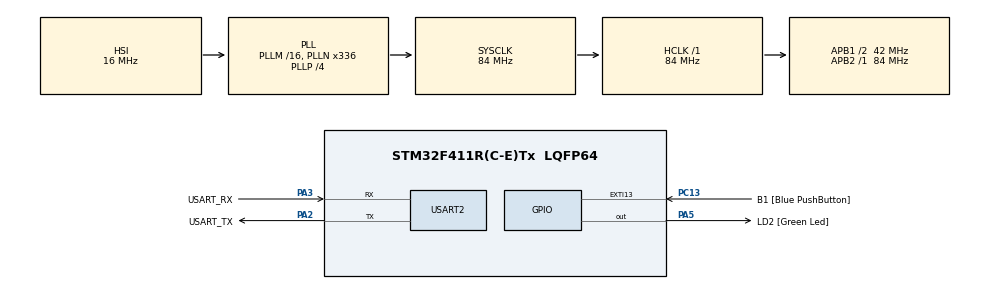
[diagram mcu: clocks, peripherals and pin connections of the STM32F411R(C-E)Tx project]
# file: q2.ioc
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FREERTOS.Tasks01=defaultTask,0,128,StartDefaultTask,Default,NULL,Dynamic,NULL,NULL;myTask02,-3,128,StartTask02,Default,NULL,Dynamic,NULL,NULL;myTask03,-3,128,StartTask03,Default,NULL,Dynamic,NULL,NULL
Mcu.Family=STM32F4
Mcu.Name=STM32F411R(C-E)Tx
Mcu.Package=LQFP64
NVIC.PriorityGroup=NVIC_PRIORITYGROUP_4
PA13.GPIO_Label=TMS
PA13.Mode=Serial_Wire
PA13.Signal=SYS_JTMS-SWDIO
PA14.GPIO_Label=TCK
PA14.Mode=Serial_Wire
PA14.Signal=SYS_JTCK-SWCLK
PA2.GPIO_Label=USART_TX
PA2.Mode=Asynchronous
PA2.Signal=USART2_TX
PA3.GPIO_Label=USART_RX
PA3.Mode=Asynchronous
PA3.Signal=USART2_RX
PA5.GPIO_Label=LD2 [Green Led]
PA5.Signal=GPIO_Output
PB3.GPIO_Label=SWO
PB3.Signal=SYS_JTDO-SWO
PC13-ANTI_TAMP.GPIO_Label=B1 [Blue PushButton]
PC13-ANTI_TAMP.GPIO_ModeDefaultEXTI=GPIO_MODE_IT_FALLING
PC13-ANTI_TAMP.Signal=GPXTI13
PC14-OSC32_IN.Mode=LSE-External-Oscillator
PC14-OSC32_IN.Signal=RCC_OSC32_IN
PC15-OSC32_OUT.Mode=LSE-External-Oscillator
PC15-OSC32_OUT.Signal=RCC_OSC32_OUT
PH0\ -\ OSC_IN.Mode=HSE-External-Clock-Source
PH0\ -\ OSC_IN.Signal=RCC_OSC_IN
PH1\ -\ OSC_OUT.Mode=HSE-External-Clock-Source
PH1\ -\ OSC_OUT.Signal=RCC_OSC_OUT
ProjectManager.HeapSize=0x200
ProjectManager.StackSize=0x400
ProjectManager.TargetToolchain=STM32CubeIDE
RCC.48MHZClocksFreq_Value=84000000
RCC.AHBFreq_Value=84000000
RCC.APB1CLKDivider=RCC_HCLK_DIV2
RCC.APB1Freq_Value=42000000
RCC.APB1TimFreq_Value=84000000
RCC.APB2Freq_Value=84000000
RCC.APB2TimFreq_Value=84000000
RCC.CortexFreq_Value=84000000
RCC.FLatency-AdvancedSettings=FLASH_LATENCY_2
RCC.HCLKFreq_Value=84000000
RCC.HSE_VALUE=8000000
RCC.HSI_VALUE=16000000
RCC.PLLN=336
RCC.PLLP=RCC_PLLP_DIV4
RCC.SYSCLKFreq_VALUE=84000000
RCC.SYSCLKSource=RCC_SYSCLKSOURCE_PLLCLK
RCC.VCOOutputFreq_Value=336000000
USART2.VirtualMode=VM_ASYNC
VP_FREERTOS_VS_CMSIS_V1.Mode=CMSIS_V1
board=NUCLEO-F411RE

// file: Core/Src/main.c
/* USER CODE BEGIN Header */
/**
 ******************************************************************************
 * @file           : main.c
 * @brief          : Main program body
 ******************************************************************************
 * @attention
 *
 * Copyright (c) 2022 STMicroelectronics.
 * All rights reserved.
 *
 * This software is licensed under terms that can be found in the LICENSE file
 * in the root directory of this software component.
 * If no LICENSE file comes with this software, it is provided AS-IS.
 *
 ******************************************************************************
 */
/* USER CODE END Header */
#include "main.h"
#include "cmsis_os.h"

/* USER CODE BEGIN PD */
int d = 0;
int s = 0;
int action = 0;
int stage = 0;
/* USER CODE END PD */

UART_HandleTypeDef huart2;

osThreadId defaultTaskHandle;
osThreadId myTask02Handle;
osThreadId myTask03Handle;

void SystemClock_Config(void);
static void MX_GPIO_Init(void);
static void MX_USART2_UART_Init(void);
void StartDefaultTask(void const *argument);
void StartTask02(void const *argument);
void StartTask03(void const *argument);

int main(void) {

	/* MCU Configuration--------------------------------------------------------*/

	/* Reset of all peripherals, Initializes the Flash interface and the Systick. */
	HAL_Init();

	/* Configure the system clock */
	SystemClock_Config();

	/* Initialize all configured peripherals */
	MX_GPIO_Init();
	MX_USART2_UART_Init();

	/* Create the thread(s) */
	/* definition and creation of defaultTask */
	osThreadDef(defaultTask, StartDefaultTask, osPriorityNormal, 0, 128);
	defaultTaskHandle = osThreadCreate(osThread(defaultTask), NULL);

	/* definition and creation of myTask02 */
	osThreadDef(myTask02, StartTask02, osPriorityNormal, 0, 128);
	myTask02Handle = osThreadCreate(osThread(myTask02), NULL);

	/* definition and creation of myTask03 */
	osThreadDef(myTask03, StartTask03, osPriorityNormal, 0, 128);
	myTask03Handle = osThreadCreate(osThread(myTask03), NULL);

	/* Start scheduler */
	osKernelStart();

	/* We should never get here as control is now taken by the scheduler */
	/* Infinite loop */
	while (1) {

	}
}

void SystemClock_Config(void) {
	RCC_OscInitTypeDef RCC_OscInitStruct = { 0 };
	RCC_ClkInitTypeDef RCC_ClkInitStruct = { 0 };

	/** Configure the main internal regulator output voltage
	 */
	__HAL_RCC_PWR_CLK_ENABLE();
	__HAL_PWR_VOLTAGESCALING_CONFIG(PWR_REGULATOR_VOLTAGE_SCALE2);
	/** Initializes the RCC Oscillators according to the specified parameters
	 * in the RCC_OscInitTypeDef structure.
	 */
	RCC_OscInitStruct.OscillatorType = RCC_OSCILLATORTYPE_HSI;
	RCC_OscInitStruct.HSIState = RCC_HSI_ON;
	RCC_OscInitStruct.HSICalibrationValue = RCC_HSICALIBRATION_DEFAULT;
	RCC_OscInitStruct.PLL.PLLState = RCC_PLL_ON;
	RCC_OscInitStruct.PLL.PLLSource = RCC_PLLSOURCE_HSI;
	RCC_OscInitStruct.PLL.PLLM = 16;
	RCC_OscInitStruct.PLL.PLLN = 336;
	RCC_OscInitStruct.PLL.PLLP = RCC_PLLP_DIV4;
	RCC_OscInitStruct.PLL.PLLQ = 7;
	if (HAL_RCC_OscConfig(&RCC_OscInitStruct) != HAL_OK) {
		Error_Handler();
	}
	/** Initializes the CPU, AHB and APB buses clocks
	 */
	RCC_ClkInitStruct.ClockType = RCC_CLOCKTYPE_HCLK | RCC_CLOCKTYPE_SYSCLK
			| RCC_CLOCKTYPE_PCLK1 | RCC_CLOCKTYPE_PCLK2;
	RCC_ClkInitStruct.SYSCLKSource = RCC_SYSCLKSOURCE_PLLCLK;
	RCC_ClkInitStruct.AHBCLKDivider = RCC_SYSCLK_DIV1;
	RCC_ClkInitStruct.APB1CLKDivider = RCC_HCLK_DIV2;
	RCC_ClkInitStruct.APB2CLKDivider = RCC_HCLK_DIV1;

	if (HAL_RCC_ClockConfig(&RCC_ClkInitStruct, FLASH_LATENCY_2) != HAL_OK) {
		Error_Handler();
	}
}

static void MX_USART2_UART_Init(void) {

	huart2.Instance = USART2;
	huart2.Init.BaudRate = 115200;
	huart2.Init.WordLength = UART_WORDLENGTH_8B;
	huart2.Init.StopBits = UART_STOPBITS_1;
	huart2.Init.Parity = UART_PARITY_NONE;
	huart2.Init.Mode = UART_MODE_TX_RX;
	huart2.Init.HwFlowCtl = UART_HWCONTROL_NONE;
	huart2.Init.OverSampling = UART_OVERSAMPLING_16;
	if (HAL_UART_Init(&huart2) != HAL_OK) {
		Error_Handler();
	}

}

static void MX_GPIO_Init(void) {
	GPIO_InitTypeDef GPIO_InitStruct = { 0 };

	/* GPIO Ports Clock Enable */
	__HAL_RCC_GPIOC_CLK_ENABLE();
	__HAL_RCC_GPIOH_CLK_ENABLE();
	__HAL_RCC_GPIOA_CLK_ENABLE();
	__HAL_RCC_GPIOB_CLK_ENABLE();

	/*Configure GPIO pin Output Level */
	HAL_GPIO_WritePin(LD2_GPIO_Port, LD2_Pin, GPIO_PIN_RESET);

	/*Configure GPIO pin : B1_Pin */
	GPIO_InitStruct.Pin = B1_Pin;
	GPIO_InitStruct.Mode = GPIO_MODE_IT_FALLING;
	GPIO_InitStruct.Pull = GPIO_NOPULL;
	HAL_GPIO_Init(B1_GPIO_Port, &GPIO_InitStruct);

	/*Configure GPIO pin : LD2_Pin */
	GPIO_InitStruct.Pin = LD2_Pin;
	GPIO_InitStruct.Mode = GPIO_MODE_OUTPUT_PP;
	GPIO_InitStruct.Pull = GPIO_NOPULL;
	GPIO_InitStruct.Speed = GPIO_SPEED_FREQ_LOW;
	HAL_GPIO_Init(LD2_GPIO_Port, &GPIO_InitStruct);

}

void StartDefaultTask(void const *argument) {
	/* USER CODE BEGIN 5 */
	/* Infinite loop */
	for (;;) {
		if (stage == 0) {
			HAL_GPIO_WritePin(GPIOA, GPIO_PIN_5, 0);
		} else {
			if (s == 1 && d < 2500) {
				HAL_GPIO_TogglePin(GPIOA, GPIO_PIN_5);
			}

			if (d < 2500)
				HAL_Delay(2500 - d);
			else
				HAL_GPIO_WritePin(GPIOA, GPIO_PIN_5, 1);
		}
//    osDelay(1)
	}
	/* USER CODE END 5 */
}

void StartTask02(void const *argument) {
	/* USER CODE BEGIN StartTask02 */
	/* Infinite loop */
	for (;;) {
		if (HAL_GPIO_ReadPin(GPIOC, GPIO_PIN_13) == 0) {
			s = 1;
			action = 0;
			d += 500;
			if (stage == 5) {
				stage = 0;
				d = 0;
			} else {
				stage++;
			}

			while (1) {
				HAL_Delay(100);
				if (HAL_GPIO_ReadPin(GPIOC, GPIO_PIN_13) == 1)
					break;
			}
//    osDelay(1);
		}
	}
	/* USER CODE END StartTask02 */
}

void StartTask03(void const *argument) {
	/* USER CODE BEGIN StartTask03 */
	/* Infinite loop */
	for (;;)

	{
		action++;
		if (action == 15) {
			action = 0;

			HAL_GPIO_WritePin(GPIOA, GPIO_PIN_5, 0);
			s = 0;
			d = 0;
		}
		HAL_Delay(1000);
		osDelay(1);
	}
	/* USER CODE END StartTask03 */
}

void Error_Handler(void) {
	__disable_irq();
	while (1) {
	}
}
